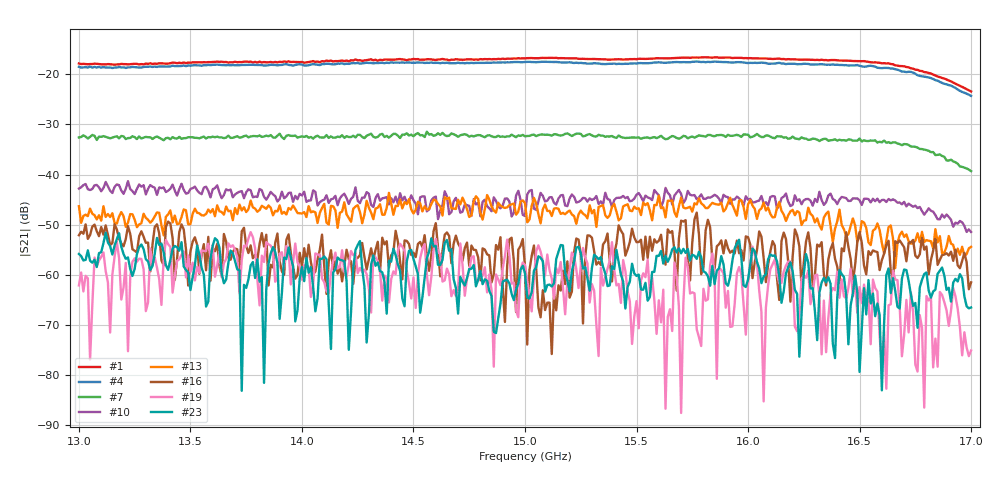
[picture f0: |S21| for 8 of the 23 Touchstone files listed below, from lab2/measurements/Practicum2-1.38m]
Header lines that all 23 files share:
!Keysight Technologies,P9374A,MY57211807,A.19.30.04
!Correction: S11(C  2-Port  )
!S21(C  2-Port  )
!S12(C  2-Port  )
!S22(C  2-Port  )
!S2P File: Measurements: S11, S21, S12, S22:
# Hz S  RI  R 50
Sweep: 13 GHz to 17 GHz
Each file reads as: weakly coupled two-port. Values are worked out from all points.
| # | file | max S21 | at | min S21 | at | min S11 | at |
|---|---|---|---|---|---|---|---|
| 1 | 0.s2p | -16.57 dB | 15.81 GHz | -23.4 dB | 17 GHz | -52.6 dB | 15.63 GHz |
| 2 | 2.s2p | -16.38 dB | 15.8 GHz | -23.2 dB | 17 GHz | -63.9 dB | 15.61 GHz |
| 3 | 4.s2p | -16.69 dB | 15.86 GHz | -23.5 dB | 17 GHz | -55.3 dB | 15.61 GHz |
| 4 | 6.s2p | -17.44 dB | 15.77 GHz | -24.3 dB | 17 GHz | -59.0 dB | 15.63 GHz |
| 5 | 8.s2p | -18.33 dB | 15.01 GHz | -25.4 dB | 17 GHz | -57.1 dB | 15.59 GHz |
| 6 | 16.s2p | -25.76 dB | 13.09 GHz | -34.6 dB | 17 GHz | -45.3 dB | 15.62 GHz |
| 7 | 22.s2p | -31.43 dB | 14.56 GHz | -39.3 dB | 17 GHz | -56.7 dB | 15.6 GHz |
| 8 | 24.s2p | -33.08 dB | 14.56 GHz | -42.4 dB | 17 GHz | -50.1 dB | 15.58 GHz |
| 9 | 32.s2p | -39.21 dB | 13.09 GHz | -50.7 dB | 17 GHz | -44.2 dB | 15.66 GHz |
| 10 | 34.s2p | -41.32 dB | 13.22 GHz | -51.5 dB | 17 GHz | -41.3 dB | 15.58 GHz |
| 11 | 36.s2p | -42.73 dB | 13.03 GHz | -53.3 dB | 16.98 GHz | -39.5 dB | 15.68 GHz |
| 12 | 38.s2p | -42.88 dB | 15.6 GHz | -53.8 dB | 16.97 GHz | -50.5 dB | 15.6 GHz |
| 13 | 40.s2p | -43.66 dB | 14.39 GHz | -58.7 dB | 16.66 GHz | -45.5 dB | 15.62 GHz |
| 14 | 42.s2p | -43.59 dB | 14.72 GHz | -65.3 dB | 16.93 GHz | -49.8 dB | 15.59 GHz |
| 15 | 44.s2p | -44.63 dB | 15.12 GHz | -71.1 dB | 16.16 GHz | -39.8 dB | 15.62 GHz |
| 16 | 52.s2p | -47.61 dB | 15.77 GHz | -75.8 dB | 15.12 GHz | -47.6 dB | 15.58 GHz |
| 17 | 58.s2p | -48.45 dB | 15.12 GHz | -84.7 dB | 16.23 GHz | -46.7 dB | 15.59 GHz |
| 18 | 64.s2p | -51.14 dB | 15.19 GHz | -88.2 dB | 16.98 GHz | -43.0 dB | 15.62 GHz |
| 19 | 68.s2p | -51.50 dB | 13.77 GHz | -87.6 dB | 15.7 GHz | -40.9 dB | 15.62 GHz |
| 20 | 74.s2p | -50.97 dB | 14.25 GHz | -81.2 dB | 14.46 GHz | -49.8 dB | 15.6 GHz |
| 21 | 84.s2p | -50.20 dB | 13 GHz | -86.7 dB | 16.63 GHz | -46.3 dB | 15.62 GHz |
| 22 | 86.s2p | -49.73 dB | 13.17 GHz | -83.6 dB | 14.92 GHz | -46.7 dB | 15.62 GHz |
| 23 | 88.s2p | -51.60 dB | 13.12 GHz | -83.2 dB | 13.73 GHz | -52.0 dB | 15.64 GHz |
